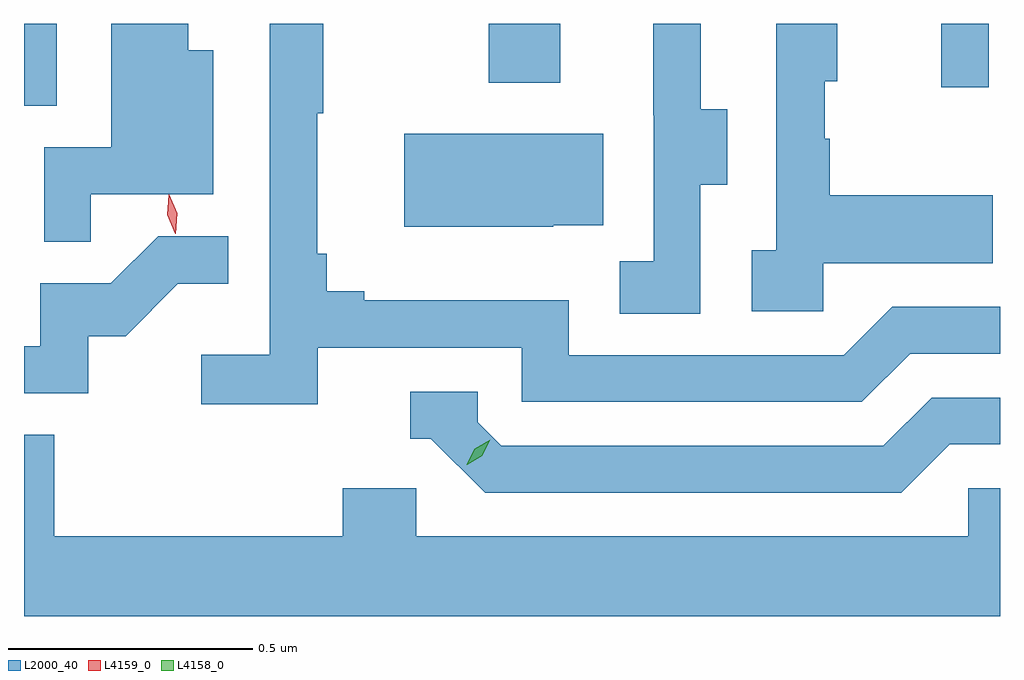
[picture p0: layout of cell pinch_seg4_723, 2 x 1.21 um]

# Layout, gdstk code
import gdstk
lib = gdstk.Library(unit=1e-6, precision=1e-09)
def R(c, l, rs):  # rectangles x0, y0, x1, y1
    for r in rs: c.add(gdstk.rectangle(r[:2], r[2:], *l))
def P(c, l, *ps):  # polygons
    for p in ps: c.add(gdstk.Polygon(p, *l))
L2000_40 = (2000, 40)
L4158_0 = (4158, 0)
L4159_0 = (4159, 0)

pinch_seg4_723 = lib.new_cell('pinch_seg4_723')
R(pinch_seg4_723, L2000_40, [(839.532,832.498,839.599,832.666), (841.412,832.536,841.509,832.666), (840.484,832.545,840.631,832.666)])
P(pinch_seg4_723, L2000_40, [(840.918,832.336),(840.973,832.336),(840.973,832.491),(840.919,832.491),(840.919,832.666),(840.821,832.666),(840.821,832.479),(840.822,832.479),(840.822,832.179),(840.753,832.179),(840.753,832.072),(840.918,832.072)],
  [(840.134,832.002),(840.552,832.002),(840.552,831.891),(841.249,831.891),(841.348,831.99),(841.532,831.99),(841.532,832.086),(841.311,832.086),(841.212,831.987),(840.648,831.987),(840.648,832.099),(840.229,832.099),(840.229,832.118),(840.152,832.118),(840.152,832.195),(840.133,832.195),(840.133,832.483),(840.145,832.483),(840.145,832.666),(840.036,832.666),(840.036,831.988),(839.895,831.988),(839.895,831.886),(840.134,831.886)],
  [(841.17,832.175),(841.517,832.175),(841.517,832.315),(841.183,832.315),(841.183,832.43),(841.173,832.43),(841.173,832.548),(841.198,832.548),(841.198,832.666),(841.074,832.666),(841.074,832.202),(841.023,832.202),(841.023,832.077),(841.17,832.077)],
  [(839.669,832.317),(839.92,832.317),(839.92,832.612),(839.869,832.612),(839.869,832.666),(839.711,832.666),(839.711,832.413),(839.574,832.413),(839.574,832.219),(839.669,832.219)],
  [(840.617,832.253),(840.719,832.253),(840.719,832.441),(840.311,832.441),(840.311,832.25),(840.617,832.25)],
  [(839.664,832.026),(839.74,832.026),(839.847,832.133),(839.951,832.133),(839.951,832.231),(839.807,832.231),(839.71,832.134),(839.565,832.134),(839.565,832.005),(839.532,832.005),(839.532,831.909),(839.664,831.909)],
  [(841.429,831.804),(841.532,831.804),(841.532,831.9),(841.392,831.9),(841.293,831.801),(840.51,831.801),(840.462,831.849),(840.462,831.912),(840.323,831.912),(840.323,831.816),(840.366,831.816),(840.477,831.705),(841.33,831.705)],
  [(841.532,831.714),(841.467,831.714),(841.467,831.616),(840.336,831.616),(840.336,831.714),(840.185,831.714),(840.185,831.616),(839.594,831.616),(839.594,831.824),(839.532,831.824),(839.532,831.452),(841.532,831.452)])
P(pinch_seg4_723, L4158_0, [(840.439,831.762),(840.439,831.763),(840.456,831.795),(840.487,831.814),(840.487,831.814),(840.487,831.814),(840.471,831.781),(840.44,831.762)])
P(pinch_seg4_723, L4159_0, [(839.842,832.236),(839.826,832.275),(839.829,832.316),(839.829,832.317),(839.83,832.316),(839.846,832.278),(839.843,832.236),(839.843,832.236)])

lib.write_gds('pinch_seg4_723.gds')
